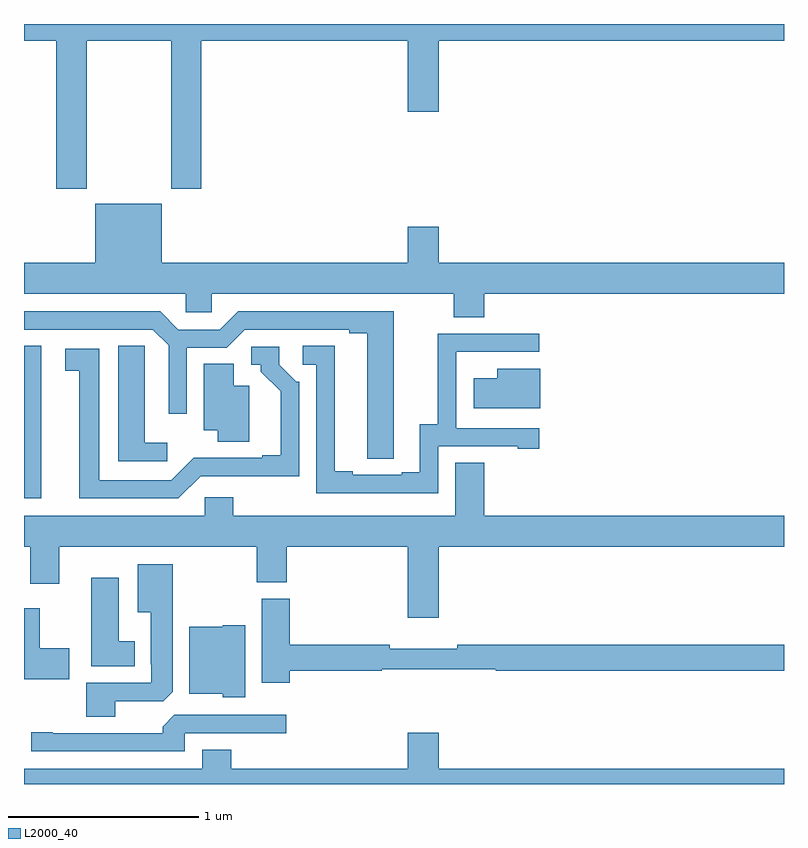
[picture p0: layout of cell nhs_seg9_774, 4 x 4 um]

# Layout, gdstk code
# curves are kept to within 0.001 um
import gdstk
lib = gdstk.Library(unit=1e-6, precision=1e-09)
def R(c, l, rs):  # rectangles x0, y0, x1, y1
    for r in rs: c.add(gdstk.rectangle(r[:2], r[2:], *l))
def P(c, l, *ps):  # polygons
    for p in ps: c.add(gdstk.Polygon(p, *l))
L2000_40 = (2000, 40)

nhs_seg9_774 = lib.new_cell('nhs_seg9_774')
R(nhs_seg9_774, L2000_40, [(151,1202.004,151.09,1202.806)])
P(nhs_seg9_774, L2000_40, [(151,1204.412),(151.169,1204.412),(151.169,1203.633),(151.329,1203.633),(151.329,1204.412),(151.774,1204.412),(151.774,1203.633),(151.934,1203.633),(151.934,1204.412),(153.02,1204.412),(153.02,1204.038),(153.184,1204.038),(153.184,1204.412),(155,1204.412),(155,1204.5),(151,1204.5)],
  [(153.422,1203.08),(155,1203.08),(155,1203.244),(153.184,1203.244),(153.184,1203.433),(153.02,1203.433),(153.02,1203.244),(151.726,1203.244),(151.726,1203.553),(151.376,1203.553),(151.376,1203.244),(151,1203.244),(151,1203.08),(151.851,1203.08),(151.851,1202.982),(151.989,1202.982),(151.989,1203.08),(153.262,1203.08),(153.262,1202.956),(153.422,1202.956)],
  [(152.946,1202.32),(152.947,1202.988),(152.127,1202.988),(152.031,1202.892),(151.813,1202.892),(151.717,1202.988),(151,1202.988),(151,1202.892),(151.677,1202.892),(151.761,1202.808),(151.761,1202.448),(151.857,1202.448),(151.857,1202.796),(152.067,1202.796),(152.163,1202.892),(152.711,1202.892),(152.711,1202.872),(152.807,1202.872),(152.807,1202.212),(152.946,1202.212)],
  [(153.18,1202.277),(153.599,1202.277),(153.599,1202.265),(153.712,1202.265),(153.712,1202.373),(153.276,1202.373),(153.276,1202.774),(153.278,1202.774),(153.278,1202.775),(153.712,1202.775),(153.712,1202.871),(153.178,1202.871),(153.178,1202.393),(153.083,1202.393),(153.083,1202.142),(152.987,1202.142),(152.987,1202.127),(152.731,1202.127),(152.731,1202.147),(152.635,1202.147),(152.635,1202.807),(152.466,1202.807),(152.466,1202.706),(152.538,1202.706),(152.538,1202.031),(153.18,1202.031)],
  [(151.753,1202.296),(151.636,1202.296),(151.636,1202.699),(151.635,1202.699),(151.635,1202.807),(151.496,1202.807),(151.496,1202.199),(151.753,1202.199)],
  [(151.929,1202.121),(152.448,1202.12),(152.448,1202.616),(152.433,1202.616),(152.343,1202.706),(152.343,1202.802),(152.196,1202.802),(152.196,1202.706),(152.246,1202.706),(152.246,1202.671),(152.351,1202.566),(152.351,1202.23),(152.255,1202.23),(152.255,1202.217),(151.894,1202.218),(151.776,1202.1),(151.396,1202.1),(151.396,1202.79),(151.218,1202.79),(151.218,1202.674),(151.292,1202.674),(151.292,1202.004),(151.812,1202.004)],
  [(152.185,1202.596),(152.104,1202.596),(152.104,1202.711),(151.946,1202.711),(151.946,1202.363),(152.021,1202.363),(152.021,1202.302),(152.185,1202.302)],
  [(153.718,1202.686),(153.491,1202.686),(153.491,1202.635),(153.366,1202.635),(153.366,1202.477),(153.718,1202.477)],
  [(153.184,1201.748),(155,1201.748),(155,1201.912),(153.422,1201.912),(153.422,1202.192),(153.269,1202.192),(153.269,1201.912),(152.102,1201.912),(152.102,1202.01),(151.95,1202.01),(151.95,1201.912),(151,1201.912),(151,1201.748),(151.034,1201.748),(151.034,1201.554),(151.186,1201.554),(151.186,1201.748),(152.224,1201.748),(152.224,1201.561),(152.384,1201.561),(152.384,1201.748),(153.02,1201.748),(153.02,1201.374),(153.184,1201.374)],
  [(151.48,1200.936),(151.734,1200.936),(151.783,1200.985),(151.783,1201.657),(151.598,1201.657),(151.598,1201.403),(151.667,1201.403),(151.667,1201.129),(151.671,1201.129),(151.671,1201.032),(151.328,1201.032),(151.328,1200.853),(151.48,1200.853)],
  [(151.582,1201.252),(151.498,1201.252),(151.498,1201.585),(151.355,1201.585),(151.355,1201.121),(151.582,1201.121)],
  [(152.399,1201.096),(152.882,1201.096),(152.882,1201.104),(153.482,1201.104),(153.482,1201.096),(155,1201.096),(155,1201.232),(153.28,1201.232),(153.28,1201.213),(152.924,1201.213),(152.924,1201.232),(152.399,1201.232),(152.399,1201.476),(152.252,1201.476),(152.252,1201.032),(152.399,1201.032)],
  [(151.237,1201.215),(151.084,1201.215),(151.084,1201.426),(151,1201.426),(151,1201.052),(151.237,1201.052)],
  [(152.164,1201.336),(152.046,1201.336),(152.046,1201.327),(151.871,1201.327),(151.871,1200.974),(152.046,1200.974),(152.046,1200.956),(152.164,1200.956)],
  [(151.845,1200.768),(152.38,1200.768),(152.38,1200.864),(151.791,1200.864),(151.73,1200.802),(151.73,1200.768),(151.15,1200.768),(151.15,1200.773),(151.038,1200.773),(151.038,1200.672),(151.845,1200.672)],
  [(155,1200.58),(153.184,1200.58),(153.184,1200.769),(153.02,1200.769),(153.02,1200.58),(152.09,1200.58),(152.09,1200.679),(151.937,1200.679),(151.937,1200.58),(151,1200.58),(151,1200.5),(155,1200.5)])

lib.write_gds('nhs_seg9_774.gds')
